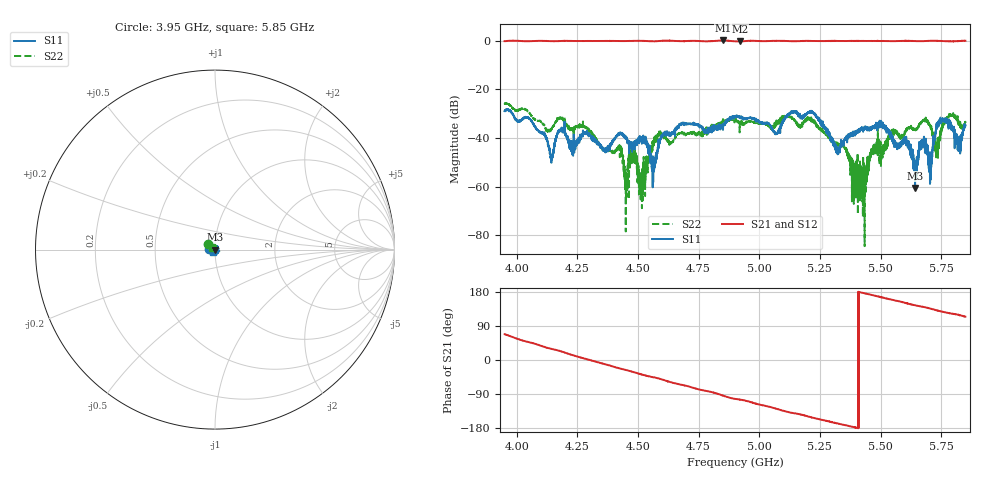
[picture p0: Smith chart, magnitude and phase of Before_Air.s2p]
# GHZ S RI R 50.000000000000
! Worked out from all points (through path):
!   4501 points, 3.95 GHz to 5.85 GHz, reference 50 ohm
!   highest |S21| = 0.14 dB at 4.851 GHz (marker M1); lowest = -0.3 dB at 4.919 GHz (marker M2)
!   group delay of S21, straight-line fit = 452 ps
!   lowest |S11| = -60.5 dB at 5.643 GHz (marker M3), VSWR 1.00, Z = 50 - j0.0813 ohm
!   |S11| at or under -10 dB: start of sweep to end of sweep
!   |S22| runs from -84.4 to -25.5 dB; largest |S21 - S12| = 0.047
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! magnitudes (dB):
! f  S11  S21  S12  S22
! 3.95 GHz  -28.9  -0.1  -0.2  -26.1
! 4.143 GHz  -47.6  -0.1  -0.1  -36.1
! 4.178 GHz  -37.2  -0.1  -0.1  -32.0
! 4.267 GHz  -39.0  -0.1  -0.1  -35.4
! 4.425 GHz  -37.7  -0.1  -0.1  -43.0
! 4.449 GHz  -39.5  -0.1  -0.1  -78.4
! 4.482 GHz  -42.8  0.0  0.0  -45.0
! 4.512 GHz  -40.1  0.0  0.0  -59.9
! 4.564 GHz  -52.8  -0.2  -0.2  -40.6
! 4.584 GHz  -43.9  -0.1  -0.2  -38.7
! 4.851 GHz  -36.7  0.1  0.1  -32.2
! 4.9 GHz  -31.2  -0.2  -0.1  -32.8
! 4.919 GHz  -31.7  -0.3  -0.2  -34.3
! 5.217 GHz  -29.4  -0.1  -0.1  -33.0
! 5.323 GHz  -46.7  -0.1  -0.1  -42.4
! 5.401 GHz  -36.9  0.0  -0.1  -55.0
! 5.534 GHz  -37.7  -0.1  -0.1  -39.6
! 5.643 GHz  -60.5  -0.1  -0.1  -36.4
! 5.672 GHz  -41.2  -0.1  -0.2  -33.3
! 5.706 GHz  -57.0  0.0  0.0  -35.0
! 5.751 GHz  -32.9  -0.1  -0.1  -37.5
! 5.85 GHz  -34.8  0.0  0.0  -33.8
